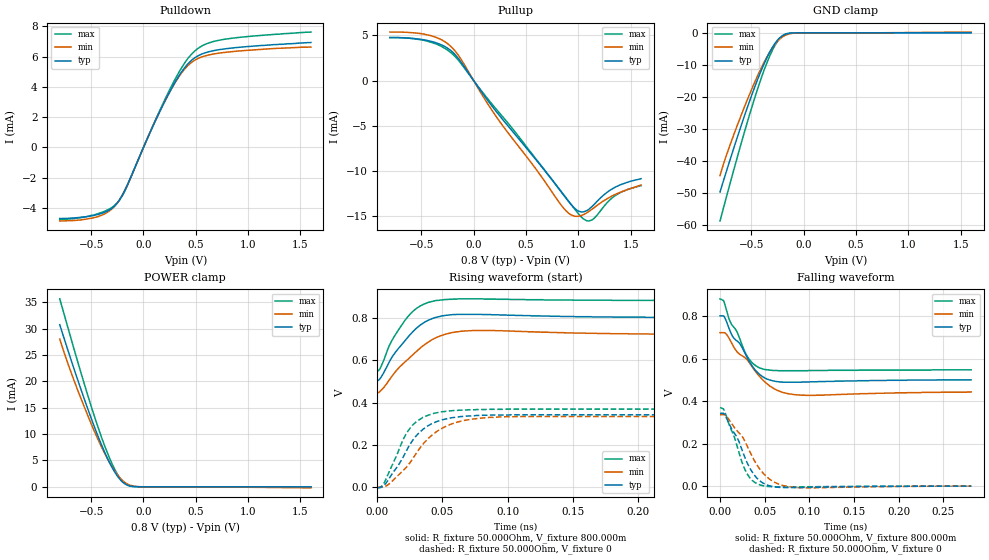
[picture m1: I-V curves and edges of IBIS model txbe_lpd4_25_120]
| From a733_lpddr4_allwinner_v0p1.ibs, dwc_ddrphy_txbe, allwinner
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[Model] txbe_lpd4_25_120
Model_type   I/O
Polarity   Non-Inverting
Enable   Active-High
C_comp   1.517pF   1.511pF   1.522pF
C_comp_pullup   270.162fF   267.821fF   272.553fF
C_comp_pulldown 1.188pF   1.182pF   1.190pF
Vinh = 500.000mV
Vinl = 390.000mV
Vmeas = 440.000mV
Vref = 440.000mV
Rref = 50Ohms
Cref = 0pF
[Model Spec]
Vinh   500.000mV   484.000mV   528.000mV
Vinl   390.000mV   364.000mV   408.000mV
Vmeas   440.000mV   424.000mV   468.000mV
Vref   440.000mV   424.000mV   468.000mV
D_overshoot_ampl_h 0.1 NA   NA
D_overshoot_ampl_l 0.1 NA   NA
D_overshoot_area_l 300.000m NA   NA
D_overshoot_area_h 300.000m NA   NA
[Receiver Thresholds]
Vth = 220.000mV
Vth_min = 212.000mV
Vth_max = 234.000mV
Vinh_ac = 60.000mV
Vinh_dc = 60.000mV
Vinl_ac = -60.000mV
Vinl_dc = -60.000mV
Tslew_ac = 5.000ns
Threshold_sensitivity = 0.5
Reference_supply Pullup_ref
[Temperature Range]   25.000   125.000   -40.000
[Voltage Range]   800.000mV   720.000mV   880.000mV
[GND Clamp Reference]   0.00V   0.00V   0.00V
[C Comp Corner]
| variable   typ   min   max
C_comp 1.517pF   1.522pF   1.511pF
C_comp_pullup 272.553fF   270.162fF   267.821fF
C_comp_pulldown 1.188pF   1.190pF   1.182pF
[Pulldown Reference]   0.00V   0.00V   0.00V
[POWER Clamp Reference]   800.000mV   720.000mV   880.000mV
[Pullup Reference]   800.000mV   720.000mV   880.000mV
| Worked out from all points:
|   slope of the pulldown table from 0 to 0.12 V, typ, clamps not added: 65.1 ohm
|   slope of the pullup table from 0 to 0.12 V, typ, clamps not added: 61 ohm
|   GND clamp passes 1 mA (typ) near -0.21 V on its own axis
|   POWER clamp passes 1 mA (typ) near -0.21 V on its own axis
|   rising waveform, R_fixture 50.000Ohm, V_fixture 800.000m: 20-80 % time 21.7ps typ, 26.3ps min, 19ps max; typ from 0.501 V to 0.8 V
|   rising waveform, R_fixture 50.000Ohm, V_fixture 0: 20-80 % time 23.2ps typ, 28.7ps min, 18.3ps max; typ from -0.001 V to 0.342 V
|   falling waveform, R_fixture 50.000Ohm, V_fixture 800.000m: 20-80 % time 26.6ps typ, 34.2ps min, 21.8ps max; typ from 0.801 V to 0.5 V
|   falling waveform, R_fixture 50.000Ohm, V_fixture 0: 20-80 % time 23.4ps typ, 29.4ps min, 18.7ps max; typ from 0.343 V to 0 V
[GND Clamp]
-800mV    -49.78mA   -44.63mA   -58.84mA
-750mV    -44.48mA   -39.38mA   -52.7mA
-650mV    -34.2mA    -30.24mA   -40.68mA
-520mV    -21.6mA    -19.43mA   -25.85mA
-430mV    -13.7mA    -12.65mA   -16.48mA
-350mV    -7.655mA   -7.453mA   -9.218mA
-300mV    -4.58mA    -4.761mA   -5.474mA
-250mV    -2.258mA   -2.648mA   -2.614mA
-200mV    -832.3uA   -1.214mA   -866.4uA
-130mV    -116uA     -272.2uA   -81.55uA
-30mV     -2.11uA    -9.03uA    -797.4nA
1.6V      40.14uA    239.4uA    14.5uA
[Power Clamp]
-800mV    30.77mA    28.05mA    35.67mA
-720mV    25.79mA    23.27mA    30.08mA
-620mV    19.81mA    17.91mA    23.17mA
-500mV    13.03mA    11.97mA    15.31mA
-400mV    7.917mA    7.517mA    9.355mA
-320mV    4.423mA    4.446mA    5.237mA
-270mV    2.644mA    2.852mA    3.114mA
-220mV    1.295mA    1.59mA     1.486mA
-180mV    590.9uA    864uA      634uA
-130mV    158.8uA    319.1uA    139.3uA
-30mV     3.389uA    12.27uA    1.826uA
1.6V      -29.15uA   -201.1uA   -7.249uA
[Pulldown]
-800mV    -4.69mA    -4.85mA    -4.76mA
-430mV    -4.42mA    -4.56mA    -4.36mA
-330mV    -4.148mA   -4.22mA    -4.086mA
-230mV    -3.479mA   -3.469mA   -3.489mA
-160mV    -2.567mA   -2.57mA    -2.613mA
90mV      1.395mA    1.409mA    1.434mA
260mV     3.789mA    3.778mA    3.944mA
390mV     5.237mA    5.148mA    5.541mA
510mV     6.006mA    5.835mA    6.483mA
630mV     6.328mA    6.114mA    6.915mA
800mV     6.528mA    6.293mA    7.168mA
1.6V      6.93mA     6.63mA     7.62mA
[Pullup]
-800mV    4.76mA     5.36mA     4.74mA
-400mV    4.312mA    4.931mA    4.207mA
-200mV    3.135mA    3.567mA    2.914mA
-130mV    2.198mA    2.524mA    2.026mA
240mV     -3.773mA   -4.383mA   -3.492mA
830mV     -12.21mA   -13.68mA   -12.17mA
930mV     -13.7mA    -14.84mA   -13.68mA
1.03V     -14.53mA   -14.92mA   -15.1mA
1.1V      -14.25mA   -14.48mA   -15.53mA
1.15V     -13.72mA   -14.07mA   -15.25mA
1.35V     -11.81mA   -12.61mA   -12.75mA
1.6V      -10.85mA   -11.55mA   -11.62mA
[Ramp]
R_load=50.000Ohm
dV/dt_r   191.956mV/23.500ps  182.435mV/28.500ps  210.887mV/19.500ps
dV/dt_f   191.955mV/25.500ps  182.435mV/32.000ps  210.892mV/21.500ps
[Rising waveform]
R_fixture=50.000Ohm
V_fixture=800.000m
V_fixture_min=720.000m
V_fixture_max=880.000m
0s        501mV      444mV      546mV
3ps       520mV      458mV      571mV
11ps      611mV      522mV      690mV
23ps      704mV      601mV      801mV
33ps      765mV      657mV      855mV
44ps      799mV      702mV      879mV
57ps      813mV      729mV      886mV
73ps      815mV      739mV      888mV
179ps     803mV      724mV      882mV
277ps     800mV      721mV      880mV
[Rising waveform]
R_fixture=50.000Ohm
V_fixture=0
0s        -986.6uV   826.9uV    -1.758mV
5ps       8.976mV    2.739mV    18.67mV
9ps       41.48mV    16.28mV    72.95mV
20ps      145mV      80.83mV    228mV
26ps      212mV      125mV      286mV
35ps      274mV      204mV      330mV
47ps      313mV      269mV      354mV
66ps      335mV      315mV      365mV
93ps      341mV      332mV      368mV
279ps     342mV      333mV      369mV
[Falling waveform]
R_fixture=50.000Ohm
V_fixture=800.000m
V_fixture_min=720.000m
V_fixture_max=880.000m
0s        801mV      722mV      881mV
4ps       801mV      722mV      873mV
11ps      732mV      689mV      777mV
19ps      683mV      632mV      726mV
30ps      608mV      596mV      614mV
37ps      559mV      555mV      576mV
47ps      517mV      503mV      552mV
66ps      491mV      447mV      543mV
86ps      489mV      429mV      543mV
281ps     500mV      443mV      547mV
[Falling waveform]
R_fixture=50.000Ohm
V_fixture=0
0s        343mV      336mV      370mV
5ps       337mV      336mV      353mV
19ps      230mV      261mV      190mV
24ps      178mV      238mV      120mV
28ps      133mV      210mV      76.95mV
36ps      66.62mV    139mV      27.02mV
45ps      23.24mV    77.35mV    5.36mV
60ps      -2.508mV   20.25mV    -3.118mV
86ps      -6.89mV    -6.653mV   -3.23mV
281ps     43.15uV    373.5uV    -115.6uV
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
